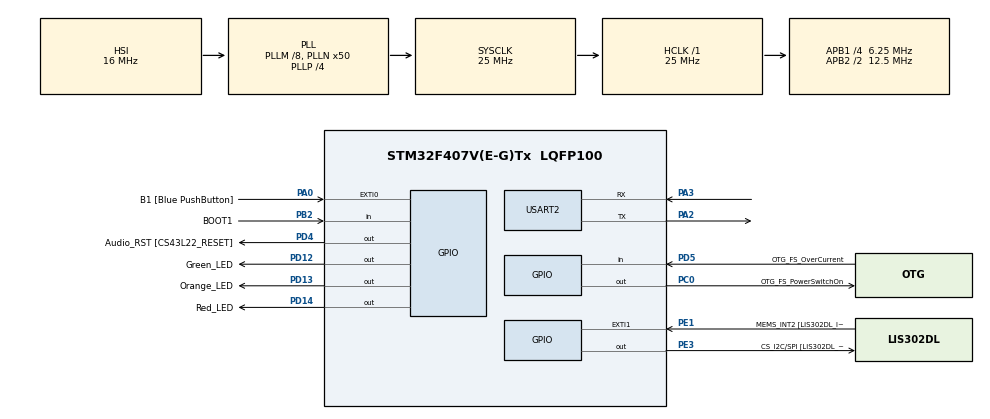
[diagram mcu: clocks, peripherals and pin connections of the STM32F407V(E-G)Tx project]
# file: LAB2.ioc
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Mcu.Family=STM32F4
Mcu.Name=STM32F407V(E-G)Tx
Mcu.Package=LQFP100
NVIC.PriorityGroup=NVIC_PRIORITYGROUP_4
NVIC.TIM7_IRQn=true\:0\:0\:false\:false\:true\:false\:true\:true
NVIC.TimeBase=TIM7_IRQn
NVIC.TimeBaseIP=TIM7
PA0-WKUP.GPIO_Label=B1 [Blue PushButton]
PA0-WKUP.Signal=GPXTI0
PA10.GPIO_Label=OTG_FS_ID
PA10.GPIO_Mode=GPIO_MODE_AF_PP
PA10.GPIO_PuPd=GPIO_NOPULL
PA10.GPIO_Speed=GPIO_SPEED_FREQ_LOW
PA10.Signal=USB_OTG_FS_ID
PA11.GPIO_Label=OTG_FS_DM
PA11.GPIO_Mode=GPIO_MODE_AF_PP
PA11.GPIO_PuPd=GPIO_NOPULL
PA11.GPIO_Speed=GPIO_SPEED_FREQ_LOW
PA11.Signal=USB_OTG_FS_DM
PA12.GPIO_Label=OTG_FS_DP
PA12.GPIO_Mode=GPIO_MODE_AF_PP
PA12.GPIO_PuPd=GPIO_NOPULL
PA12.GPIO_Speed=GPIO_SPEED_FREQ_LOW
PA12.Signal=USB_OTG_FS_DP
PA13.GPIO_Label=SWDIO
PA13.Mode=Serial_Wire
PA13.Signal=SYS_JTMS-SWDIO
PA14.GPIO_Label=SWCLK
PA14.Mode=Serial_Wire
PA14.Signal=SYS_JTCK-SWCLK
PA2.Mode=Asynchronous
PA2.Signal=USART2_TX
PA3.Mode=Asynchronous
PA3.Signal=USART2_RX
PA4.GPIO_Label=I2S3_WS [CS43L22_LRCK]
PA4.GPIO_Mode=GPIO_MODE_AF_PP
PA4.GPIO_PuPd=GPIO_NOPULL
PA4.GPIO_Speed=GPIO_SPEED_FREQ_LOW
PA4.Signal=I2S3_WS
PA5.GPIO_Label=SPI1_SCK [LIS302DL_SCL/SPC]
PA5.GPIO_Mode=GPIO_MODE_AF_PP
PA5.GPIO_PuPd=GPIO_NOPULL
PA5.GPIO_Speed=GPIO_SPEED_FREQ_LOW
PA5.Signal=SPI1_SCK
PA6.GPIO_Label=SPI1_MISO [LIS302DL_SDO]
PA6.GPIO_Mode=GPIO_MODE_AF_PP
PA6.GPIO_PuPd=GPIO_NOPULL
PA6.GPIO_Speed=GPIO_SPEED_FREQ_LOW
PA6.Signal=SPI1_MISO
PA7.GPIO_Label=SPI1_MOSI [LIS302DL_SDA/SDI/SDO]
PA7.GPIO_Mode=GPIO_MODE_AF_PP
PA7.GPIO_PuPd=GPIO_NOPULL
PA7.GPIO_Speed=GPIO_SPEED_FREQ_LOW
PA7.Signal=SPI1_MOSI
PA9.GPIO_Label=VBUS_FS
PA9.GPIO_Mode=GPIO_MODE_INPUT
PA9.GPIO_PuPd=GPIO_NOPULL
PA9.Signal=USB_OTG_FS_VBUS
PB10.GPIO_Label=CLK_IN [MP45DT02_CLK]
PB10.GPIO_Mode=GPIO_MODE_AF_PP
PB10.GPIO_PuPd=GPIO_NOPULL
PB10.GPIO_Speed=GPIO_SPEED_FREQ_LOW
PB10.Signal=I2S2_CK
PB2.GPIO_Label=BOOT1
PB2.GPIO_Mode=GPIO_MODE_INPUT
PB2.GPIO_PuPd=GPIO_NOPULL
PB2.Signal=GPIO_Input
PB3.GPIO_Label=SWO
PB3.Signal=SYS_JTDO-SWO
PB6.GPIO_Label=Audio_SCL [CS43L22_SCL]
PB6.GPIO_Mode=GPIO_MODE_AF_OD
PB6.GPIO_PuPd=GPIO_NOPULL
PB6.GPIO_Speed=GPIO_SPEED_FREQ_LOW
PB6.Signal=I2C1_SCL
PB9.GPIO_Label=Audio_SDA [CS43L22_SDA]
PB9.GPIO_Mode=GPIO_MODE_AF_OD
PB9.GPIO_PuPd=GPIO_NOPULL
PB9.GPIO_Speed=GPIO_SPEED_FREQ_LOW
PB9.Signal=I2C1_SDA
PC0.GPIO_Label=OTG_FS_PowerSwitchOn
PC0.GPIO_PuPd=GPIO_NOPULL
PC0.GPIO_Speed=GPIO_SPEED_FREQ_LOW
PC0.PinState=GPIO_PIN_SET
PC0.Signal=GPIO_Output
PC10.GPIO_Label=I2S3_SCK [CS43L22_SCLK]
PC10.GPIO_Mode=GPIO_MODE_AF_PP
PC10.GPIO_PuPd=GPIO_NOPULL
PC10.GPIO_Speed=GPIO_SPEED_FREQ_LOW
PC10.Signal=I2S3_CK
PC12.GPIO_Label=I2S3_SD [CS43L22_SDIN]
PC12.GPIO_Mode=GPIO_MODE_AF_PP
PC12.GPIO_PuPd=GPIO_NOPULL
PC12.GPIO_Speed=GPIO_SPEED_FREQ_LOW
PC12.Signal=I2S3_SD
PC14-OSC32_IN.GPIO_Label=PC14-OSC32_IN
PC14-OSC32_IN.Signal=RCC_OSC32_IN
PC15-OSC32_OUT.GPIO_Label=PC15-OSC32_OUT
PC15-OSC32_OUT.Signal=RCC_OSC32_OUT
PC3.GPIO_Label=PDM_OUT [MP45DT02_DOUT]
PC3.GPIO_Mode=GPIO_MODE_AF_PP
PC3.GPIO_PuPd=GPIO_NOPULL
PC3.GPIO_Speed=GPIO_SPEED_FREQ_LOW
PC3.Signal=I2S2_SD
PC7.GPIO_Label=I2S3_MCK [CS43L22_MCLK]
PC7.GPIO_Mode=GPIO_MODE_AF_PP
PC7.GPIO_PuPd=GPIO_NOPULL
PC7.GPIO_Speed=GPIO_SPEED_FREQ_LOW
PC7.Signal=I2S3_MCK
PD12.GPIO_Label=Green_LED
PD12.GPIO_PuPd=GPIO_NOPULL
PD12.GPIO_Speed=GPIO_SPEED_FREQ_LOW
PD12.Signal=GPIO_Output
PD13.GPIO_Label=Orange_LED
PD13.GPIO_PuPd=GPIO_NOPULL
PD13.GPIO_Speed=GPIO_SPEED_FREQ_LOW
PD13.Signal=GPIO_Output
PD14.GPIO_Label=Red_LED
PD14.GPIO_PuPd=GPIO_NOPULL
PD14.GPIO_Speed=GPIO_SPEED_FREQ_LOW
PD14.Signal=GPIO_Output
PD4.GPIO_Label=Audio_RST [CS43L22_RESET]
PD4.GPIO_PuPd=GPIO_NOPULL
PD4.GPIO_Speed=GPIO_SPEED_FREQ_LOW
PD4.Signal=GPIO_Output
PD5.GPIO_Label=OTG_FS_OverCurrent
PD5.GPIO_Mode=GPIO_MODE_INPUT
PD5.GPIO_PuPd=GPIO_NOPULL
PD5.Signal=GPIO_Input
PE1.GPIO_Label=MEMS_INT2 [LIS302DL_INT2]
PE1.GPIO_ModeDefaultEXTI=GPIO_MODE_EVT_RISING
PE1.GPIO_PuPd=GPIO_NOPULL
PE1.Signal=GPXTI1
PE3.GPIO_Label=CS_I2C/SPI [LIS302DL_CS_I2C/SPI]
PE3.GPIO_PuPd=GPIO_NOPULL
PE3.GPIO_Speed=GPIO_SPEED_FREQ_LOW
PE3.Signal=GPIO_Output
PH0-OSC_IN.GPIO_Label=PH0-OSC_IN
PH0-OSC_IN.Signal=RCC_OSC_IN
PH1-OSC_OUT.GPIO_Label=PH1-OSC_OUT
PH1-OSC_OUT.Signal=RCC_OSC_OUT
ProjectManager.HeapSize=0x200
ProjectManager.StackSize=0x400
ProjectManager.TargetToolchain=STM32CubeIDE
RCC.48MHZClocksFreq_Value=14285714.285714285
RCC.AHBFreq_Value=25000000
RCC.APB1CLKDivider=RCC_HCLK_DIV4
RCC.APB1Freq_Value=6250000
RCC.APB1TimFreq_Value=12500000
RCC.APB2CLKDivider=RCC_HCLK_DIV2
RCC.APB2Freq_Value=12500000
RCC.APB2TimFreq_Value=25000000
RCC.CortexFreq_Value=25000000
RCC.HCLKFreq_Value=25000000
RCC.HSE_VALUE=8000000
RCC.HSI_VALUE=16000000
RCC.LSE_VALUE=32768
RCC.PLLM=8
RCC.PLLN=50
RCC.PLLP=RCC_PLLP_DIV4
RCC.PLLQ=7
RCC.SYSCLKFreq_VALUE=25000000
RCC.SYSCLKSource=RCC_SYSCLKSOURCE_PLLCLK
RCC.VCOOutputFreq_Value=100000000
USART2.VirtualMode=VM_ASYNC
VP_SYS_VS_tim7.Mode=TIM7
board=STM32F407G-DISC1

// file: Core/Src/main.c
/* USER CODE BEGIN Header */
/**
  ******************************************************************************
  * @file           : main.c
  * @brief          : Main program body
  ******************************************************************************
  * @attention
  *
  * Copyright (c) 2023 STMicroelectronics.
  * All rights reserved.
  *
  * This software is licensed under terms that can be found in the LICENSE file
  * in the root directory of this software component.
  * If no LICENSE file comes with this software, it is provided AS-IS.
  *
  ******************************************************************************
  */
/* USER CODE END Header */
#include "main.h"

/* USER CODE BEGIN Includes */
#include"FreeRTOS.h"
#include"task.h"
#include"queue.h"
/* USER CODE END Includes */

void SystemClock_Config(void);
static void MX_GPIO_Init(void);
static void MX_USART2_UART_Init(void);

/* USER CODE BEGIN 0 */
UART_HandleTypeDef huart2;
//void USART_Test(void *pvParameters){
//	uint32_t Monitortimer = 400;
//	char MonitorTset[30];
//	char num[15];
//	int i = 0;
//	while(1){
//	memset(MonitorTset,'\0',sizeof(MonitorTset));
//	memset(num,'\0',sizeof(num));
//	itoa(i,num,10);
//	strcat(num," ");
//	sprintf(MonitorTset,"The point is %s\n\r",num);
//	HAL_UART_Transmit(&huart2,(uint8_t *)MonitorTset,strlen(MonitorTset),0xffff);
//	vTaskDelay(Monitortimer);
//	Monitortimer += 1;
//	i += 1;
//	}
//}

void vApplicationIdleHook( void )
{
    volatile static int32_t xLastTx = 0;
    volatile int32_t xTimeNow;

    for(;;)
    {
        xTimeNow = xTaskGetTickCount();
        if( ( xTimeNow - xLastTx ) >= ( 1000 / portTICK_PERIOD_MS ) )
        {
            xLastTx = xTimeNow;
            // 在此处添加你的任务代码
        }
    }
}

void IdleTask( void *pvParameters )
{
    TickType_t xLastWakeTime = xTaskGetTickCount();
    const TickType_t xFrequency = pdMS_TO_TICKS( 1000 );

    for(;;)
    {
        vTaskDelayUntil( &xLastWakeTime, xFrequency );
        // 在此处添加您的任务代码
    }
}

void TaskMonitor_App(void *pvParameters){
	for(;;){
	Taskmonitor();
	vTaskDelay(1000);
	}
}

void Red_LED_App(void *pvParameters){
	uint32_t Redtimer = 800;
	for(;;){
	HAL_GPIO_TogglePin(GPIOD,Red_LED_Pin);
	vTaskDelay(Redtimer);
	Redtimer+=1;
	}
}

void Green_LED_App(void *pvParameters){
	uint32_t Greentimer = 1000;
	for(;;){
	HAL_GPIO_TogglePin(GPIOD,Green_LED_Pin);
	vTaskDelay(Greentimer);
	Greentimer+=2;
	}
}

void Delay_App(void *pvParameters){
	int delayflag=0;
	uint32_t delaytime;
	while(1){
	if(delayflag==0){
	delaytime = 1000;
	delayflag=1;
	}else{
	delaytime=0xFFFFFFFF;
	}
	vTaskDelay(delaytime);
	}
}

/* USER CODE END 0 */

int main(void)
{

  /* MCU Configuration--------------------------------------------------------*/

  /* Reset of all peripherals, Initializes the Flash interface and the Systick. */
  HAL_Init();

  /* Configure the system clock */
  SystemClock_Config();

  /* Initialize all configured peripherals */
  MX_GPIO_Init();
  MX_USART2_UART_Init();

  /* USER CODE BEGIN 2 */
//  xTaskCreate(
//		  USART_Test,
//		  "USART_Test",
//		  128,
//		  NULL,
//		  1,
//		  NULL);

//  xTaskCreate(
//		  IdleTask,
//		  "IdleTask",
//		  128,
//		  NULL,
//		  0,
//		  NULL);

  xTaskCreate(
		  Red_LED_App,
		  "Red_LED_App",
		  128,
		  NULL,
		  1,
		  NULL);

  xTaskCreate(
		  Green_LED_App,
		  "Green_LED_App",
		  128,
		  NULL,
		  1,
		  NULL);

  xTaskCreate(
		  Delay_App,
		  "Delay_App",
		  128,
		  NULL,
		  14,
		  NULL);

  xTaskCreate(
		  TaskMonitor_App,
		  "TaskMonitor_App",
		  256,
		  NULL,
		  3,
		  NULL);

  vTaskStartScheduler();

  /* USER CODE END 2 */

  /* Infinite loop */
  while (1)
  {

  }
}

void SystemClock_Config(void)
{
  RCC_OscInitTypeDef RCC_OscInitStruct = {0};
  RCC_ClkInitTypeDef RCC_ClkInitStruct = {0};

  /** Configure the main internal regulator output voltage
  */
  __HAL_RCC_PWR_CLK_ENABLE();
  __HAL_PWR_VOLTAGESCALING_CONFIG(PWR_REGULATOR_VOLTAGE_SCALE1);

  /** Initializes the RCC Oscillators according to the specified parameters
  * in the RCC_OscInitTypeDef structure.
  */
  RCC_OscInitStruct.OscillatorType = RCC_OSCILLATORTYPE_HSI;
  RCC_OscInitStruct.HSIState = RCC_HSI_ON;
  RCC_OscInitStruct.HSICalibrationValue = RCC_HSICALIBRATION_DEFAULT;
  RCC_OscInitStruct.PLL.PLLState = RCC_PLL_ON;
  RCC_OscInitStruct.PLL.PLLSource = RCC_PLLSOURCE_HSI;
  RCC_OscInitStruct.PLL.PLLM = 8;
  RCC_OscInitStruct.PLL.PLLN = 50;
  RCC_OscInitStruct.PLL.PLLP = RCC_PLLP_DIV4;
  RCC_OscInitStruct.PLL.PLLQ = 7;
  if (HAL_RCC_OscConfig(&RCC_OscInitStruct) != HAL_OK)
  {
    Error_Handler();
  }

  /** Initializes the CPU, AHB and APB buses clocks
  */
  RCC_ClkInitStruct.ClockType = RCC_CLOCKTYPE_HCLK|RCC_CLOCKTYPE_SYSCLK
                              |RCC_CLOCKTYPE_PCLK1|RCC_CLOCKTYPE_PCLK2;
  RCC_ClkInitStruct.SYSCLKSource = RCC_SYSCLKSOURCE_PLLCLK;
  RCC_ClkInitStruct.AHBCLKDivider = RCC_SYSCLK_DIV1;
  RCC_ClkInitStruct.APB1CLKDivider = RCC_HCLK_DIV4;
  RCC_ClkInitStruct.APB2CLKDivider = RCC_HCLK_DIV2;

  if (HAL_RCC_ClockConfig(&RCC_ClkInitStruct, FLASH_LATENCY_0) != HAL_OK)
  {
    Error_Handler();
  }
}

static void MX_USART2_UART_Init(void)
{

  huart2.Instance = USART2;
  huart2.Init.BaudRate = 115200;
  huart2.Init.WordLength = UART_WORDLENGTH_8B;
  huart2.Init.StopBits = UART_STOPBITS_1;
  huart2.Init.Parity = UART_PARITY_NONE;
  huart2.Init.Mode = UART_MODE_TX_RX;
  huart2.Init.HwFlowCtl = UART_HWCONTROL_NONE;
  huart2.Init.OverSampling = UART_OVERSAMPLING_16;
  if (HAL_UART_Init(&huart2) != HAL_OK)
  {
    Error_Handler();
  }

}

static void MX_GPIO_Init(void)
{
  GPIO_InitTypeDef GPIO_InitStruct = {0};

  /* GPIO Ports Clock Enable */
  __HAL_RCC_GPIOE_CLK_ENABLE();
  __HAL_RCC_GPIOC_CLK_ENABLE();
  __HAL_RCC_GPIOH_CLK_ENABLE();
  __HAL_RCC_GPIOA_CLK_ENABLE();
  __HAL_RCC_GPIOB_CLK_ENABLE();
  __HAL_RCC_GPIOD_CLK_ENABLE();

  /*Configure GPIO pin Output Level */
  HAL_GPIO_WritePin(CS_I2C_SPI_GPIO_Port, CS_I2C_SPI_Pin, GPIO_PIN_RESET);

  /*Configure GPIO pin Output Level */
  HAL_GPIO_WritePin(OTG_FS_PowerSwitchOn_GPIO_Port, OTG_FS_PowerSwitchOn_Pin, GPIO_PIN_SET);

  /*Configure GPIO pin Output Level */
  HAL_GPIO_WritePin(GPIOD, Green_LED_Pin|Orange_LED_Pin|Red_LED_Pin|Audio_RST_Pin, GPIO_PIN_RESET);

  /*Configure GPIO pin : CS_I2C_SPI_Pin */
  GPIO_InitStruct.Pin = CS_I2C_SPI_Pin;
  GPIO_InitStruct.Mode = GPIO_MODE_OUTPUT_PP;
  GPIO_InitStruct.Pull = GPIO_NOPULL;
  GPIO_InitStruct.Speed = GPIO_SPEED_FREQ_LOW;
  HAL_GPIO_Init(CS_I2C_SPI_GPIO_Port, &GPIO_InitStruct);

  /*Configure GPIO pin : OTG_FS_PowerSwitchOn_Pin */
  GPIO_InitStruct.Pin = OTG_FS_PowerSwitchOn_Pin;
  GPIO_InitStruct.Mode = GPIO_MODE_OUTPUT_PP;
  GPIO_InitStruct.Pull = GPIO_NOPULL;
  GPIO_InitStruct.Speed = GPIO_SPEED_FREQ_LOW;
  HAL_GPIO_Init(OTG_FS_PowerSwitchOn_GPIO_Port, &GPIO_InitStruct);

  /*Configure GPIO pin : PDM_OUT_Pin */
  GPIO_InitStruct.Pin = PDM_OUT_Pin;
  GPIO_InitStruct.Mode = GPIO_MODE_AF_PP;
  GPIO_InitStruct.Pull = GPIO_NOPULL;
  GPIO_InitStruct.Speed = GPIO_SPEED_FREQ_LOW;
  GPIO_InitStruct.Alternate = GPIO_AF5_SPI2;
  HAL_GPIO_Init(PDM_OUT_GPIO_Port, &GPIO_InitStruct);

  /*Configure GPIO pin : B1_Pin */
  GPIO_InitStruct.Pin = B1_Pin;
  GPIO_InitStruct.Mode = GPIO_MODE_IT_RISING;
  GPIO_InitStruct.Pull = GPIO_NOPULL;
  HAL_GPIO_Init(B1_GPIO_Port, &GPIO_InitStruct);

  /*Configure GPIO pin : I2S3_WS_Pin */
  GPIO_InitStruct.Pin = I2S3_WS_Pin;
  GPIO_InitStruct.Mode = GPIO_MODE_AF_PP;
  GPIO_InitStruct.Pull = GPIO_NOPULL;
  GPIO_InitStruct.Speed = GPIO_SPEED_FREQ_LOW;
  GPIO_InitStruct.Alternate = GPIO_AF6_SPI3;
  HAL_GPIO_Init(I2S3_WS_GPIO_Port, &GPIO_InitStruct);

  /*Configure GPIO pins : SPI1_SCK_Pin SPI1_MISO_Pin SPI1_MOSI_Pin */
  GPIO_InitStruct.Pin = SPI1_SCK_Pin|SPI1_MISO_Pin|SPI1_MOSI_Pin;
  GPIO_InitStruct.Mode = GPIO_MODE_AF_PP;
  GPIO_InitStruct.Pull = GPIO_NOPULL;
  GPIO_InitStruct.Speed = GPIO_SPEED_FREQ_LOW;
  GPIO_InitStruct.Alternate = GPIO_AF5_SPI1;
  HAL_GPIO_Init(GPIOA, &GPIO_InitStruct);

  /*Configure GPIO pin : BOOT1_Pin */
  GPIO_InitStruct.Pin = BOOT1_Pin;
  GPIO_InitStruct.Mode = GPIO_MODE_INPUT;
  GPIO_InitStruct.Pull = GPIO_NOPULL;
  HAL_GPIO_Init(BOOT1_GPIO_Port, &GPIO_InitStruct);

  /*Configure GPIO pin : CLK_IN_Pin */
  GPIO_InitStruct.Pin = CLK_IN_Pin;
  GPIO_InitStruct.Mode = GPIO_MODE_AF_PP;
  GPIO_InitStruct.Pull = GPIO_NOPULL;
  GPIO_InitStruct.Speed = GPIO_SPEED_FREQ_LOW;
  GPIO_InitStruct.Alternate = GPIO_AF5_SPI2;
  HAL_GPIO_Init(CLK_IN_GPIO_Port, &GPIO_InitStruct);

  /*Configure GPIO pins : Green_LED_Pin Orange_LED_Pin Red_LED_Pin Audio_RST_Pin */
  GPIO_InitStruct.Pin = Green_LED_Pin|Orange_LED_Pin|Red_LED_Pin|Audio_RST_Pin;
  GPIO_InitStruct.Mode = GPIO_MODE_OUTPUT_PP;
  GPIO_InitStruct.Pull = GPIO_NOPULL;
  GPIO_InitStruct.Speed = GPIO_SPEED_FREQ_LOW;
  HAL_GPIO_Init(GPIOD, &GPIO_InitStruct);

  /*Configure GPIO pins : I2S3_MCK_Pin I2S3_SCK_Pin I2S3_SD_Pin */
  GPIO_InitStruct.Pin = I2S3_MCK_Pin|I2S3_SCK_Pin|I2S3_SD_Pin;
  GPIO_InitStruct.Mode = GPIO_MODE_AF_PP;
  GPIO_InitStruct.Pull = GPIO_NOPULL;
  GPIO_InitStruct.Speed = GPIO_SPEED_FREQ_LOW;
  GPIO_InitStruct.Alternate = GPIO_AF6_SPI3;
  HAL_GPIO_Init(GPIOC, &GPIO_InitStruct);

  /*Configure GPIO pin : VBUS_FS_Pin */
  GPIO_InitStruct.Pin = VBUS_FS_Pin;
  GPIO_InitStruct.Mode = GPIO_MODE_INPUT;
  GPIO_InitStruct.Pull = GPIO_NOPULL;
  HAL_GPIO_Init(VBUS_FS_GPIO_Port, &GPIO_InitStruct);

  /*Configure GPIO pins : OTG_FS_ID_Pin OTG_FS_DM_Pin OTG_FS_DP_Pin */
  GPIO_InitStruct.Pin = OTG_FS_ID_Pin|OTG_FS_DM_Pin|OTG_FS_DP_Pin;
  GPIO_InitStruct.Mode = GPIO_MODE_AF_PP;
  GPIO_InitStruct.Pull = GPIO_NOPULL;
  GPIO_InitStruct.Speed = GPIO_SPEED_FREQ_LOW;
  GPIO_InitStruct.Alternate = GPIO_AF10_OTG_FS;
  HAL_GPIO_Init(GPIOA, &GPIO_InitStruct);

  /*Configure GPIO pin : OTG_FS_OverCurrent_Pin */
  GPIO_InitStruct.Pin = OTG_FS_OverCurrent_Pin;
  GPIO_InitStruct.Mode = GPIO_MODE_INPUT;
  GPIO_InitStruct.Pull = GPIO_NOPULL;
  HAL_GPIO_Init(OTG_FS_OverCurrent_GPIO_Port, &GPIO_InitStruct);

  /*Configure GPIO pins : Audio_SCL_Pin Audio_SDA_Pin */
  GPIO_InitStruct.Pin = Audio_SCL_Pin|Audio_SDA_Pin;
  GPIO_InitStruct.Mode = GPIO_MODE_AF_OD;
  GPIO_InitStruct.Pull = GPIO_NOPULL;
  GPIO_InitStruct.Speed = GPIO_SPEED_FREQ_LOW;
  GPIO_InitStruct.Alternate = GPIO_AF4_I2C1;
  HAL_GPIO_Init(GPIOB, &GPIO_InitStruct);

  /*Configure GPIO pin : MEMS_INT2_Pin */
  GPIO_InitStruct.Pin = MEMS_INT2_Pin;
  GPIO_InitStruct.Mode = GPIO_MODE_EVT_RISING;
  GPIO_InitStruct.Pull = GPIO_NOPULL;
  HAL_GPIO_Init(MEMS_INT2_GPIO_Port, &GPIO_InitStruct);

}

void HAL_TIM_PeriodElapsedCallback(TIM_HandleTypeDef *htim)
{
  if (htim->Instance == TIM7) {
    HAL_IncTick();
  }
}

void Error_Handler(void)
{
  __disable_irq();
  while (1)
  {
  }
}
